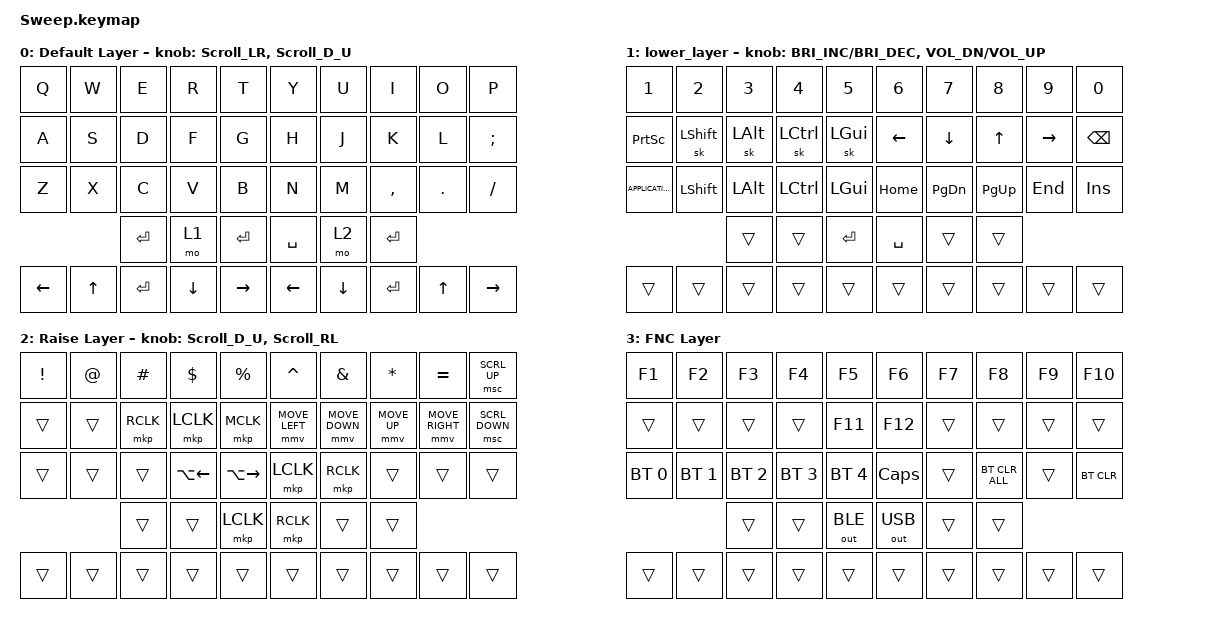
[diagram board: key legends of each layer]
/*
 * Copyright (c) 2020 The ZMK Contributors
 *
 * SPDX-License-Identifier: MIT
 */

#include <input/processors.dtsi>
#include <zephyr/dt-bindings/input/input-event-codes.h>
#include <dt-bindings/zmk/mouse.h>
#include <behaviors/mouse_keys.dtsi>
#include <behaviors.dtsi>
#include <dt-bindings/zmk/bt.h>
#include <dt-bindings/zmk/keys.h>
#include <dt-bindings/zmk/outputs.h>
#include <dt-bindings/zmk/pointing.h>

#define ZMK_POINTING_DEFAULT_MOVE_VAL 1200  // 600
#define ZMK_POINTING_DEFAULT_SCRL_VAL 900   // mousescroll SPEED

&mmv_input_listener { input-processors = <&zip_xy_scaler 2 1>; };

&msc_input_listener { input-processors = <&zip_scroll_scaler 2 1>; };

&msc {
    acceleration-exponent = <0>;      // 0
    time-to-max-speed-ms = <300>;       // 300
    delay-ms = <0>;                   // 0
};

&mmv {
    time-to-max-speed-ms = <500>;
    acceleration-exponent = <1>;
    trigger-period-ms = <16>;
};

&soft_off {
    hold-time-ms = <3000>; // Only turn off it the key is held for 3 seconds or longer.
};

&mt {
    tapping-term-ms = <300>;
    flavor = "tap-preferred";
};

&lt { tapping-term-ms = <300>; };

/ {
    behaviors {
        Scroll_D_U: Scroll_D_U {
            compatible = "zmk,behavior-sensor-rotate";
            label = "SCROLL_D_U";
            #sensor-binding-cells = <0>;
            bindings = <&msc SCRL_DOWN>, <&msc SCRL_UP>;

            tap-ms = <20>;
        };

        TD01: TD01 {
            compatible = "zmk,behavior-tap-dance";
            label = "TD01";
            #binding-cells = <0>;
            bindings = <&kp MINUS>, <&kp PERIOD>;
        };

        Scroll_U_D: Scroll_U_D {
            compatible = "zmk,behavior-sensor-rotate";
            label = "SCROLL_U_D";
            #sensor-binding-cells = <0>;
            bindings = <&msc SCRL_UP>, <&msc SCRL_DOWN>;

            tap-ms = <20>;
        };

        Scroll_LR: Scroll_LR {
            compatible = "zmk,behavior-sensor-rotate";
            label = "SCROLL_LR";
            #sensor-binding-cells = <0>;
            bindings = <&msc SCRL_LEFT>, <&msc SCRL_RIGHT>;

            tap-ms = <20>;
        };

        Scroll_RL: Scroll_RL {
            compatible = "zmk,behavior-sensor-rotate";
            label = "SCROLL_RL";
            #sensor-binding-cells = <0>;
            bindings = <&msc SCRL_RIGHT>, <&msc SCRL_LEFT>;

            tap-ms = <20>;
        };

        mouse_DU: mouse_DU {
            compatible = "zmk,behavior-sensor-rotate";
            label = "MOUSE_DU";
            #sensor-binding-cells = <0>;
            bindings = <&mmv MOVE_DOWN>, <&mmv MOVE_UP>;
        };

        mouse_RL: mouse_RL {
            compatible = "zmk,behavior-sensor-rotate";
            label = "MOUSE_RL";
            #sensor-binding-cells = <0>;
            bindings = <&mmv MOVE_RIGHT>, <&mmv MOVE_LEFT>;
        };
    };

    combos {
        compatible = "zmk,combos";

        esc {
            bindings = <&kp ESCAPE>;
            key-positions = <0 1>;
            timeout-ms = <60>;
            require-prior-idle-ms = <100>;
            layers = <0>;
        };

        enter {
            bindings = <&kp ENTER>;
            key-positions = <13 14>;
            timeout-ms = <60>;
            require-prior-idle-ms = <100>;
            layers = <0>;
        };

        tab {
            bindings = <&kp TAB>;
            key-positions = <10 11>;
            timeout-ms = <60>;
            require-prior-idle-ms = <100>;
            layers = <0>;
        };

        backspace {
            bindings = <&kp BACKSPACE>;
            key-positions = <11 12>;
            timeout-ms = <60>;
            require-prior-idle-ms = <100>;
            layers = <0>;
        };

        delete {
            bindings = <&kp DELETE>;
            key-positions = <13 12>;
            timeout-ms = <60>;
            require-prior-idle-ms = <100>;
            layers = <0>;
        };

        lctrl {
            bindings = <&kp LCTRL>;
            key-positions = <23 24>;
            layers = <0>;
            timeout-ms = <60>;
            require-prior-idle-ms = <100>;
        };

        ctrl-shift {
            bindings = <&kp LC(LEFT_SHIFT)>;
            key-positions = <23 24 32>;
            layers = <0>;
            timeout-ms = <60>;
            require-prior-idle-ms = <100>;
        };

        lalt {
            bindings = <&kp LEFT_ALT>;
            key-positions = <13 24>;
            timeout-ms = <60>;
            require-prior-idle-ms = <100>;
            layers = <0>;
        };

        alt-shift {
            bindings = <&kp LA(LEFT_SHIFT)>;
            key-positions = <13 24 32>;
            timeout-ms = <60>;
            require-prior-idle-ms = <100>;
            layers = <0>;
        };

        lgui {
            bindings = <&kp LEFT_GUI>;
            key-positions = <14 24>;
            timeout-ms = <60>;
            require-prior-idle-ms = <100>;
            layers = <0>;
        };

        gui-shift {
            bindings = <&kp LG(LEFT_SHIFT)>;
            key-positions = <14 24 32>;
            layers = <0>;
            timeout-ms = <60>;
            require-prior-idle-ms = <100>;
        };

        copy {
            bindings = <&kp LC(C)>;
            key-positions = <21 22>;
            timeout-ms = <60>;
            require-prior-idle-ms = <100>;
            layers = <0>;
        };

        paste {
            bindings = <&kp LC(V)>;
            key-positions = <22 23>;
            timeout-ms = <60>;
            require-prior-idle-ms = <100>;
            layers = <0>;
        };

        cut {
            bindings = <&kp LC(X)>;
            key-positions = <21 23>;
            timeout-ms = <60>;
            require-prior-idle-ms = <100>;
            layers = <0>;
        };

        undo {
            bindings = <&kp LC(Z)>;
            key-positions = <1 2>;
            timeout-ms = <60>;
            require-prior-idle-ms = <100>;
            layers = <0>;
        };

        redo {
            bindings = <&kp LC(Y)>;
            key-positions = <2 3>;
            timeout-ms = <60>;
            require-prior-idle-ms = <100>;
            layers = <0>;
        };

        sellect-all {
            bindings = <&kp LC(A)>;
            key-positions = <20 21>;
            timeout-ms = <60>;
            require-prior-idle-ms = <100>;
            layers = <0>;
        };

        scroll-up {
            bindings = <&msc SCRL_UP>;
            key-positions = <6 7 8>;
            timeout-ms = <60>;
            require-prior-idle-ms = <100>;
            layers = <0 2>;
        };

        scroll-down {
            bindings = <&msc SCRL_DOWN>;
            key-positions = <26 27 28>;
            timeout-ms = <60>;
            require-prior-idle-ms = <100>;
            layers = <0 2>;
        };

        less-than {
            bindings = <&kp LESS_THAN>;
            key-positions = <15 16>;
            timeout-ms = <25>;
            require-prior-idle-ms = <180>;
            layers = <0>;
        };

        great-than {
            bindings = <&kp GREATER_THAN>;
            key-positions = <25 26>;
            timeout-ms = <25>;
            require-prior-idle-ms = <180>;
            layers = <0>;
        };

        lpar {
            bindings = <&kp LEFT_PARENTHESIS>;
            key-positions = <6 7>;
            timeout-ms = <25>;
            require-prior-idle-ms = <180>;
            layers = <0>;
        };

        lbrc {
            bindings = <&kp LEFT_BRACE>;
            key-positions = <16 17>;
            timeout-ms = <25>;
            require-prior-idle-ms = <180>;
            layers = <0>;
        };

        lbkt {
            bindings = <&kp LEFT_BRACKET>;
            key-positions = <26 27>;
            timeout-ms = <25>;
            require-prior-idle-ms = <180>;
            layers = <0>;
        };

        rpar {
            bindings = <&kp RIGHT_PARENTHESIS>;
            key-positions = <7 8>;
            timeout-ms = <25>;
            require-prior-idle-ms = <180>;
            layers = <0>;
        };

        rbrc {
            bindings = <&kp RIGHT_BRACE>;
            key-positions = <17 18>;
            timeout-ms = <25>;
            require-prior-idle-ms = <180>;
            layers = <0>;
        };

        rbkt {
            bindings = <&kp RIGHT_BRACKET>;
            key-positions = <27 28>;
            timeout-ms = <25>;
            require-prior-idle-ms = <180>;
            layers = <0>;
        };

        colon {
            bindings = <&kp COLON>;
            key-positions = <18 19>;
            timeout-ms = <25>;
            require-prior-idle-ms = <180>;
            layers = <0>;
        };

        double-quotes {
            bindings = <&kp DOUBLE_QUOTES>;
            key-positions = <8 9>;
            timeout-ms = <25>;
            require-prior-idle-ms = <180>;
            layers = <0>;
        };

        quote {
            bindings = <&kp SINGLE_QUOTE>;
            key-positions = <28 29>;
            timeout-ms = <25>;
            require-prior-idle-ms = <180>;
            layers = <0>;
        };

        plus {
            bindings = <&kp PLUS>;
            key-positions = <16 7>;
            timeout-ms = <25>;
            require-prior-idle-ms = <180>;
            layers = <0>;
        };

        minus {
            bindings = <&kp MINUS>;
            key-positions = <16 8>;
            timeout-ms = <25>;
            require-prior-idle-ms = <180>;
            layers = <0>;
        };

        under-score {
            bindings = <&kp UNDERSCORE>;
            key-positions = <16 9>;
            timeout-ms = <25>;
            require-prior-idle-ms = <180>;
            layers = <0>;
        };

        grave {
            bindings = <&kp GRAVE>;
            key-positions = <16 18>;
            timeout-ms = <25>;
            require-prior-idle-ms = <180>;
            layers = <0>;
        };

        qmark {
            bindings = <&kp QUESTION>;
            key-positions = <16 28>;
            timeout-ms = <25>;
            require-prior-idle-ms = <180>;
            layers = <0>;
        };

        pipe {
            bindings = <&kp PIPE>;
            key-positions = <16 19>;
            timeout-ms = <25>;
            require-prior-idle-ms = <180>;
            layers = <0>;
        };

        tilde {
            bindings = <&kp TILDE>;
            key-positions = <16 27>;
            timeout-ms = <25>;
            require-prior-idle-ms = <180>;
            layers = <0>;
        };

        backslash {
            bindings = <&kp BACKSLASH>;
            key-positions = <16 33>;
            timeout-ms = <25>;
            require-prior-idle-ms = <180>;
            layers = <0>;
        };

        equal {
            bindings = <&kp EQUAL>;
            key-positions = <5 6>;
            timeout-ms = <25>;
            require-prior-idle-ms = <100>;
            layers = <0>;
        };
    };

    keymap {
        compatible = "zmk,keymap";

        default_layer {
            display-name = "Default Layer";
            bindings = <
&kp Q     &kp W   &kp E    &kp R     &kp T      &kp Y      &kp U     &kp I      &kp O    &kp P
&kp A     &kp S   &kp D    &kp F     &kp G      &kp H      &kp J     &kp K      &kp L    &kp SEMI
&kp Z     &kp X   &kp C    &kp V     &kp B      &kp N      &kp M     &kp COMMA  &kp DOT  &kp FSLH
                  &kp RET  &mo 1     &kp ENTER  &kp SPACE  &mo 2     &kp RET
&kp LEFT  &kp UP  &kp RET  &kp DOWN  &kp RIGHT  &kp LEFT   &kp DOWN  &kp RET    &kp UP   &kp RIGHT
            >;

            sensor-bindings = <&Scroll_LR>, <&Scroll_D_U>;
        };

        lower_layer {
            display-name = "lower_layer";
            bindings = <
&kp NUMBER_1       &kp N2          &kp N3        &kp N4     &kp N5        &kp N6          &kp N7          &kp N8        &kp N9           &kp N0
&kp PRINTSCREEN    &sk LEFT_SHIFT  &sk LEFT_ALT  &sk LCTRL  &sk LEFT_GUI  &kp LEFT_ARROW  &kp DOWN_ARROW  &kp UP_ARROW  &kp RIGHT_ARROW  &kp BACKSPACE
&kp K_APPLICATION  &kp LEFT_SHIFT  &kp LEFT_ALT  &kp LCTRL  &kp LEFT_GUI  &kp HOME        &kp PAGE_DOWN   &kp PG_UP     &kp END          &kp INSERT
                                   &trans        &trans     &kp ENTER     &kp SPACE       &trans          &trans
&trans             &trans          &trans        &trans     &trans        &trans          &trans          &trans        &trans           &trans
            >;

            sensor-bindings =
                <&inc_dec_kp C_BRIGHTNESS_INC C_BRIGHTNESS_DEC>,
                <&inc_dec_kp C_VOL_DN C_VOL_UP>;

            label = "Lower Layer";
        };

        raise_layer {
            bindings = <
&kp EXCLAMATION  &kp AT_SIGN  &kp HASH   &kp DOLLAR          &kp PERCENT          &kp CARET       &kp AMPERSAND   &kp ASTERISK  &kp EQUAL        &msc SCRL_UP
&trans           &trans       &mkp RCLK  &mkp LCLK           &mkp MCLK            &mmv MOVE_LEFT  &mmv MOVE_DOWN  &mmv MOVE_UP  &mmv MOVE_RIGHT  &msc SCRL_DOWN
&trans           &trans       &trans     &kp LA(LEFT_ARROW)  &kp LA(RIGHT_ARROW)  &mkp LCLK       &mkp RCLK       &trans        &trans           &trans
                              &trans     &trans              &mkp LCLK            &mkp RCLK       &trans          &trans
&trans           &trans       &trans     &trans              &trans               &trans          &trans          &trans        &trans           &trans
            >;

            label = "Raise Layer";
            sensor-bindings = <&Scroll_D_U>, <&Scroll_RL>;
        };

        fnc_layer {
            bindings = <
&kp F1        &kp F2        &kp F3        &kp F4        &kp F5        &kp F6        &kp F7  &kp F8          &kp F9  &kp F10
&trans        &trans        &trans        &trans        &kp F11       &kp F12       &trans  &trans          &trans  &trans
&bt BT_SEL 0  &bt BT_SEL 1  &bt BT_SEL 2  &bt BT_SEL 3  &bt BT_SEL 4  &kp CAPSLOCK  &trans  &bt BT_CLR_ALL  &trans  &bt BT_CLR
                            &trans        &trans        &out OUT_BLE  &out OUT_USB  &trans  &trans
&trans        &trans        &trans        &trans        &trans        &trans        &trans  &trans          &trans  &trans
            >;

            label = "FNC Layer";
        };
    };

    conditional_layers {
        compatible = "zmk,conditional-layers";

        fnc {
            if-layers = <1 2>;
            then-layer = <3>;
        };
    };
};
